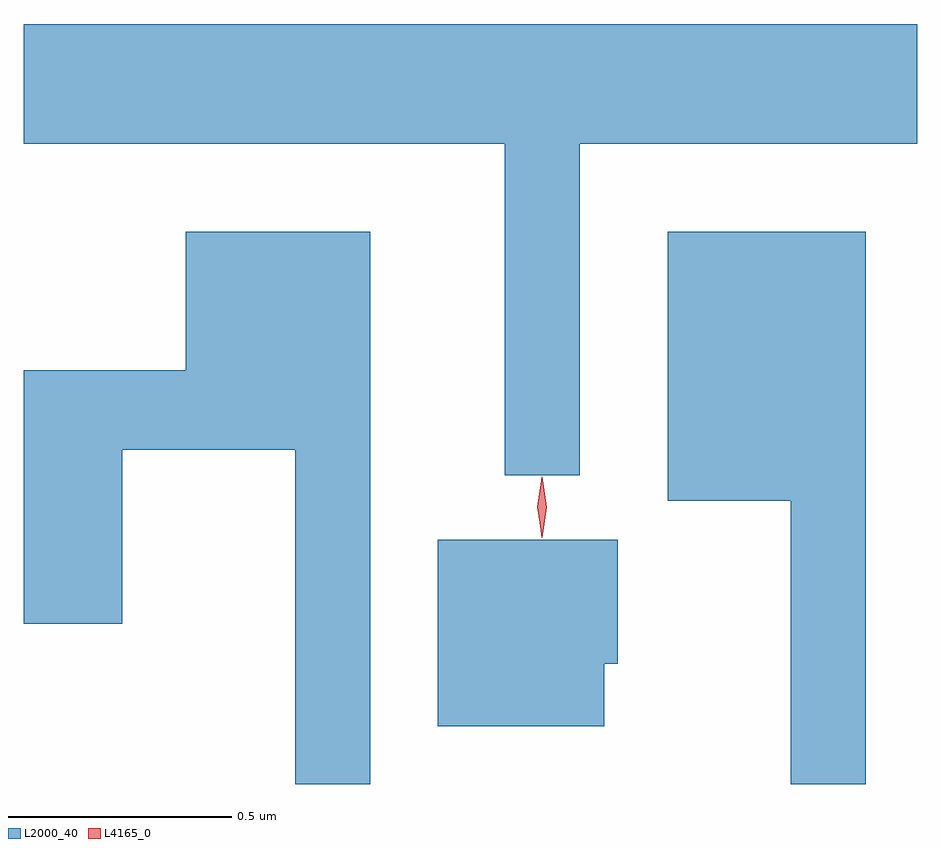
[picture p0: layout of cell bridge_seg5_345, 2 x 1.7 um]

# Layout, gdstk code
import gdstk
lib = gdstk.Library(unit=1e-6, precision=1e-09)
def P(c, l, *ps):  # polygons
    for p in ps: c.add(gdstk.Polygon(p, *l))
L2000_40 = (2000, 40)
L4165_0 = (4165, 0)

bridge_seg5_345 = lib.new_cell('bridge_seg5_345')
P(bridge_seg5_345, L2000_40, [(667.209,1505.636),(667.964,1505.636),(667.964,1505.904),(665.964,1505.904),(665.964,1505.636),(667.041,1505.636),(667.041,1504.893),(667.209,1504.893)],
  [(667.849,1505.439),(667.406,1505.439),(667.406,1504.836),(667.681,1504.836),(667.681,1504.202),(667.849,1504.202)],
  [(666.739,1505.439),(666.326,1505.439),(666.326,1505.129),(665.964,1505.129),(665.964,1504.561),(666.184,1504.561),(666.184,1504.951),(666.571,1504.951),(666.571,1504.202),(666.739,1504.202)],
  [(667.264,1504.471),(667.294,1504.471),(667.294,1504.749),(666.891,1504.749),(666.891,1504.331),(667.264,1504.331)])
P(bridge_seg5_345, L4165_0, [(667.124,1504.754),(667.115,1504.822),(667.124,1504.89),(667.125,1504.89),(667.125,1504.89),(667.135,1504.822),(667.125,1504.754),(667.125,1504.754)],
  [(667.124,1504.759),(667.124,1504.759),(667.114,1504.823),(667.124,1504.887),(667.124,1504.887),(667.125,1504.887),(667.134,1504.823),(667.125,1504.759)])

lib.write_gds('bridge_seg5_345.gds')
